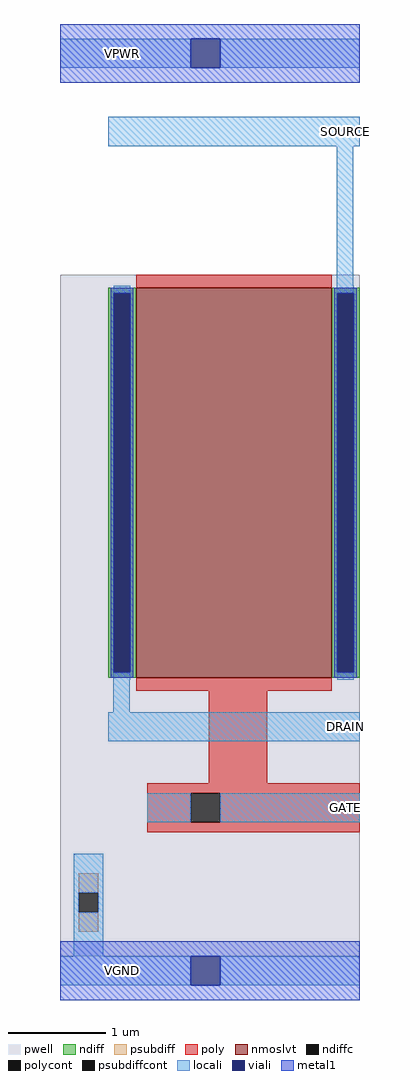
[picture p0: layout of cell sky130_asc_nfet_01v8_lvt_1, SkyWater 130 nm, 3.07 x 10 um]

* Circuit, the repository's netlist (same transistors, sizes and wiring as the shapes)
* NGSPICE file created from sky130_asc_nfet_01v8_lvt_1.ext - technology: sky130A

.subckt sky130_asc_nfet_01v8_lvt_1 GATE SOURCE DRAIN VPWR VGND
X0 SOURCE GATE DRAIN VSUBS sky130_fd_pr__nfet_01v8_lvt ad=1.16e+12p pd=8.58e+06u as=1.16e+12p ps=8.58e+06u w=4e+06u l=2e+06u
.ends

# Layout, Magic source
magic
tech sky130A
magscale 1 2
<< pwell >>
rect 120 30 734 1426
<< nmoslvt >>
rect 276 600 676 1400
<< ndiff >>
rect 218 1388 276 1400
rect 218 612 230 1388
rect 264 612 276 1388
rect 218 600 276 612
rect 676 1388 734 1400
rect 676 612 688 1388
rect 722 612 734 1388
rect 676 600 734 612
<< ndiffc >>
rect 230 612 264 1388
rect 688 612 722 1388
<< psubdiff >>
rect 158 160 198 200
rect 158 80 198 120
<< psubdiffcont >>
rect 158 120 198 160
<< poly >>
rect 276 1400 676 1426
rect 276 574 676 600
rect 424 384 544 574
rect 298 364 734 384
rect 298 304 388 364
rect 448 304 734 364
rect 298 284 734 304
<< polycont >>
rect 388 304 448 364
<< locali >>
rect 120 1850 388 1910
rect 448 1850 734 1910
rect 218 1690 734 1750
rect 687 1404 721 1690
rect 230 1388 264 1404
rect 229 612 230 654
rect 687 1388 722 1404
rect 687 1386 688 1388
rect 229 596 264 612
rect 688 596 722 612
rect 229 530 263 596
rect 218 470 734 530
rect 298 304 388 364
rect 448 304 734 364
rect 148 160 208 240
rect 148 120 158 160
rect 198 120 208 160
rect 148 30 208 120
rect 120 -30 388 30
rect 448 -30 734 30
<< viali >>
rect 388 1850 448 1910
rect 230 612 264 1388
rect 688 612 722 1388
rect 388 -30 448 30
<< metal1 >>
rect 120 1910 734 1940
rect 120 1850 388 1910
rect 448 1850 734 1910
rect 120 1820 734 1850
rect 224 1388 270 1400
rect 224 612 230 1388
rect 264 612 270 1388
rect 224 600 270 612
rect 682 1388 728 1400
rect 682 612 688 1388
rect 722 612 728 1388
rect 682 600 728 612
rect 120 30 734 60
rect 120 -30 388 30
rect 448 -30 734 30
rect 120 -60 734 -30
<< labels >>
flabel metal1 218 1850 278 1910 1 FreeSans 800 0 0 0 VPWR
port 4 n power bidirectional
flabel metal1 218 -30 278 30 1 FreeSans 800 0 0 0 VGND
port 5 n ground bidirectional
flabel locali 674 1690 734 1750 1 FreeSans 800 0 0 0 SOURCE
port 2 n default bidirectional
flabel locali 674 470 734 530 1 FreeSans 800 0 0 0 DRAIN
port 3 n default bidirectional
flabel locali 674 304 734 364 1 FreeSans 800 0 0 0 GATE
port 1 n default bidirectional
<< properties >>
string FIXED_BBOX 0 0 854 1880
string LEFclass CORE
string LEFsite unitasc
<< end >>
